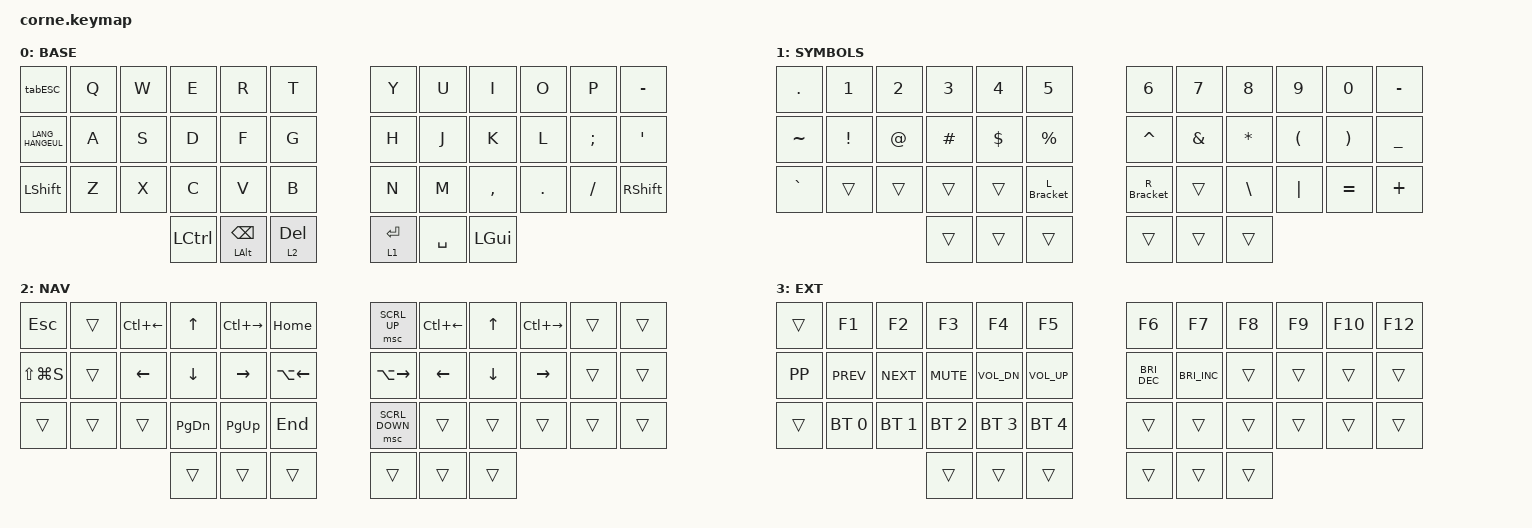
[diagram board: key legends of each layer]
#include <behaviors.dtsi>
#include <dt-bindings/zmk/bt.h>
#include <dt-bindings/zmk/keys.h>
#include <dt-bindings/zmk/pointing.h>

&led_strip {
    chain-length = <0>;

    // chain-length = <27>;
    // 21 backlight + 6 glowlight
};

#define TAPPING_TERM 200

/ {
    behaviors {
        /*
    * td_lock groups locking functions into one key:
    *  - tap once to lock the host
    *  - tap twice to put the host to sleep
    */

        tabESC: tabESC {
            compatible = "zmk,behavior-tap-dance";
            label = "TABESC";
            #binding-cells = <0>;
            tapping-term-ms = <200>;
            bindings = <&kp TAB>, <&kp ESC>;
        };

        L_Bracket: L_Bracket {
            compatible = "zmk,behavior-tap-dance";
            label = "L_BRACKET";
            #binding-cells = <0>;
            bindings =
                <&kp LEFT_PARENTHESIS>,
                <&kp LEFT_BRACE>,
                <&kp LEFT_BRACKET>;

            tapping-term-ms = <200>;
        };

        R_Bracket: R_Bracket {
            compatible = "zmk,behavior-tap-dance";
            label = "R_BRACKET";
            #binding-cells = <0>;
            bindings =
                <&kp RIGHT_PARENTHESIS>,
                <&kp RIGHT_BRACE>,
                <&kp RIGHT_BRACKET>;

            tapping-term-ms = <200>;
        };
    };

    combos {
        compatible = "zmk,combos";

        Clear_BLE_Profile {
            bindings = <&bt BT_CLR>;
            key-positions = <0 38 5>;
        };

        Space {
            bindings = <&kp SPACE>;
            key-positions = <29 28>;
        };

        Enter {
            bindings = <&kp ENTER>;
            key-positions = <17 16>;
        };

        Capslock {
            bindings = <&kp CLCK>;
            key-positions = <5 6>;
        };

        Escape {
            bindings = <&kp ESCAPE>;
            key-positions = <0 1>;
        };
    };

    keymap {
        compatible = "zmk,keymap";

        base_layer {
            label = "BASE";
            bindings = <
&tabESC           &kp Q  &kp W  &kp E      &kp R                   &kp T           &kp Y      &kp U      &kp I         &kp O    &kp P      &kp MINUS
&kp LANG_HANGEUL  &kp A  &kp S  &kp D      &kp F                   &kp G           &kp H      &kp J      &kp K         &kp L    &kp SEMI   &kp SINGLE_QUOTE
&kp LEFT_SHIFT    &kp Z  &kp X  &kp C      &kp V                   &kp B           &kp N      &kp M      &kp COMMA     &kp DOT  &kp SLASH  &kp RIGHT_SHIFT
                                &kp LCTRL  &mt LEFT_ALT BACKSPACE  &lt 2 DELETE    &lt 1 RET  &kp SPACE  &kp LEFT_GUI
            >;
        };

        symbols_layer {
            label = "SYMBOLS";
            bindings = <
&kp PERIOD  &kp N1    &kp N2  &kp N3    &kp N4    &kp N5        &kp N6      &kp N7    &kp N8         &kp N9    &kp N0     &kp MINUS
&kp TILDE   &kp EXCL  &kp AT  &kp HASH  &kp DLLR  &kp PRCNT     &kp CARET   &kp AMPS  &kp ASTERISK   &kp LPAR  &kp RPAR   &kp UNDERSCORE
&kp GRAVE   &trans    &trans  &trans    &trans    &L_Bracket    &R_Bracket  &trans    &kp BACKSLASH  &kp PIPE  &kp EQUAL  &kp PLUS
                              &trans    &trans    &trans        &trans      &trans    &trans
            >;
        };

        nav_layer {
            label = "NAV";
            bindings = <
&kp ESCAPE     &trans  &kp LC(LEFT_ARROW)  &kp UP_ARROW    &kp LC(RIGHT)  &kp HOME              &msc SCRL_UP    &kp LC(LEFT)    &kp UP_ARROW  &kp LC(RIGHT)  &trans  &trans
&kp LS(LG(S))  &trans  &kp LEFT_ARROW      &kp DOWN_ARROW  &kp RIGHT      &kp LA(LEFT_ARROW)    &kp LA(RIGHT)   &kp LEFT_ARROW  &kp DOWN      &kp RIGHT      &trans  &trans
&trans         &trans  &trans              &kp PG_DN       &kp PG_UP      &kp END               &msc SCRL_DOWN  &trans          &trans        &trans         &trans  &trans
                                           &trans          &trans         &trans                &trans          &trans          &trans
            >;
        };

        extended_layer {
            label = "EXT";
            bindings = <
&trans    &kp F1        &kp F2        &kp F3        &kp F4        &kp F5          &kp F6                &kp F7                &kp F8  &kp F9  &kp F10  &kp F12
&kp K_PP  &kp K_PREV    &kp K_NEXT    &kp K_MUTE    &kp C_VOL_DN  &kp C_VOL_UP    &kp C_BRIGHTNESS_DEC  &kp C_BRIGHTNESS_INC  &trans  &trans  &trans   &trans
&trans    &bt BT_SEL 0  &bt BT_SEL 1  &bt BT_SEL 2  &bt BT_SEL 3  &bt BT_SEL 4    &trans                &trans                &trans  &trans  &trans   &trans
                                      &trans        &trans        &trans          &trans                &trans                &trans
            >;
        };
    };

    conditional_layers {
        compatible = "zmk,conditional-layers";

        Activate_EXT {
            if-layers = <1 2>;
            then-layer = <3>;
        };
    };
};
